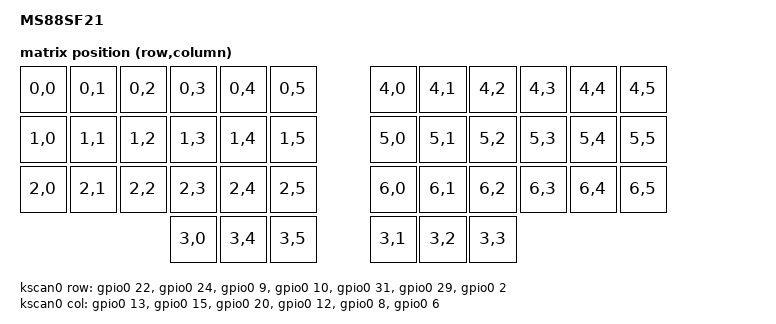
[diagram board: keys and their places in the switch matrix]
/dts-v1/;
#include <nordic/nrf52840_qiaa.dtsi>
#include <dt-bindings/zmk/matrix_transform.h>

/ {
    model = "MS88SF21";
    compatible = "ms88sf21,v1", "nordic,nrf52840";

    chosen {
        zephyr,code-partition = &code_partition;
        zephyr,flash = &flash0;
        zephyr,sram = &sram0;
        zmk,kscan = &kscan0;
        zmk,matrix-transform = &default_transform;
    };

    default_transform: keymap_transform_0 {
        compatible = "zmk,matrix-transform";
        rows = <7>;
        columns = <6>;
        map = <
            RC(0,0) RC(0,1) RC(0,2) RC(0,3) RC(0,4) RC(0,5) RC(4,0) RC(4,1) RC(4,2) RC(4,3) RC(4,4) RC(4,5)
            RC(1,0) RC(1,1) RC(1,2) RC(1,3) RC(1,4) RC(1,5) RC(5,0) RC(5,1) RC(5,2) RC(5,3) RC(5,4) RC(5,5)
            RC(2,0) RC(2,1) RC(2,2) RC(2,3) RC(2,4) RC(2,5) RC(6,0) RC(6,1) RC(6,2) RC(6,3) RC(6,4) RC(6,5)
            RC(3,0)                         RC(3,4) RC(3,5) RC(3,1) RC(3,2)                         RC(3,3)
        >;
    };

    kscan0: kscan_0 {
        compatible = "zmk,kscan-gpio-matrix";
        row-gpios = <
            &gpio0 22 (GPIO_ACTIVE_HIGH | GPIO_PULL_DOWN)
            &gpio0 24 (GPIO_ACTIVE_HIGH | GPIO_PULL_DOWN)
            &gpio0 9 (GPIO_ACTIVE_HIGH | GPIO_PULL_DOWN)
            &gpio0 10 (GPIO_ACTIVE_HIGH | GPIO_PULL_DOWN)
            &gpio0 31 (GPIO_ACTIVE_HIGH | GPIO_PULL_DOWN)
            &gpio0 29 (GPIO_ACTIVE_HIGH | GPIO_PULL_DOWN)
            &gpio0 2 (GPIO_ACTIVE_HIGH | GPIO_PULL_DOWN)
        >;
        col-gpios = <
            &gpio0 13 GPIO_ACTIVE_HIGH
            &gpio0 15 GPIO_ACTIVE_HIGH
            &gpio0 20 GPIO_ACTIVE_HIGH
            &gpio0 12 GPIO_ACTIVE_HIGH
            &gpio0 8 GPIO_ACTIVE_HIGH
            &gpio0 6 GPIO_ACTIVE_HIGH
        >;
        diode-direction = "col2row";
    };
};

&gpiote {
    status = "okay";
};

&gpio0 {
    status = "okay";
};

zephyr_udc0: &usbd {
    status = "okay";
};

&uart0 {
  status = "disabled";
};

&flash0 {
    partitions {
        compatible = "fixed-partitions";
        #address-cells = <1>;
        #size-cells = <1>;

        sd_partition: partition@0 {
            reg = <0x00000000 0x00001000>;
        };

        code_partition: partition@1000 {
            reg = <0x00001000 0x000d3000>;
        };

        storage_partition: partition@d4000 {
            reg = <0x000d4000 0x00020000>;
        };

        boot_partition: partition@f4000 {
            reg = <0x000f4000 0x0000c000>;
        };
    };
};
